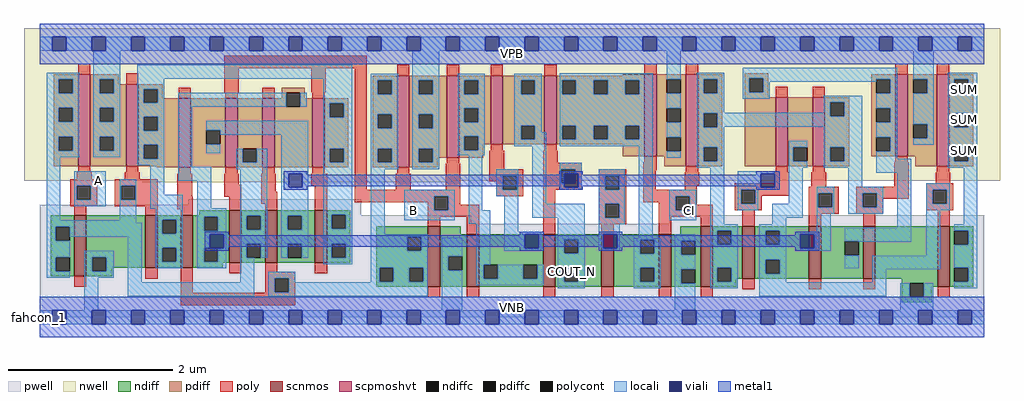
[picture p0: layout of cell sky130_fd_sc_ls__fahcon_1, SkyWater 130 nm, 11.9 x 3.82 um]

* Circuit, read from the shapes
.subckt sky130_fd_sc_ls__fahcon_1 A B CI VGND VNB VPB VPWR COUT_N SUM
XM1 VGND A n1 VNB sky130_fd_pr__nfet_01v8 w=0.74 l=0.15
XM2 n2 n1 VGND VNB sky130_fd_pr__nfet_01v8 w=0.64 l=0.15
XM3 n3 n4 n2 VNB sky130_fd_pr__nfet_01v8 w=0.64 l=0.15
XM4 n1 B n3 VNB sky130_fd_pr__nfet_01v8 w=0.64 l=0.15
XM5 n5 n4 n1 VNB sky130_fd_pr__nfet_01v8 w=0.64 l=0.15
XM6 n2 B n5 VNB sky130_fd_pr__nfet_01v8 w=0.64 l=0.15
XM7 VGND B n4 VNB sky130_fd_pr__nfet_01v8 w=0.74 l=0.15
XM8 n6 B VGND VNB sky130_fd_pr__nfet_01v8 w=0.64 l=0.15
XM9 COUT_N n5 n6 VNB sky130_fd_pr__nfet_01v8 w=0.64 l=0.15
XM10 n7 n3 COUT_N VNB sky130_fd_pr__nfet_01v8 w=0.64 l=0.15
XM11 VGND CI n7 VNB sky130_fd_pr__nfet_01v8 w=0.64 l=0.15
XM12 n8 CI VGND VNB sky130_fd_pr__nfet_01v8 w=0.74 l=0.15
XM13 n9 n5 n8 VNB sky130_fd_pr__nfet_01v8 w=0.64 l=0.15
XM14 n10 n3 n9 VNB sky130_fd_pr__nfet_01v8 w=0.64 l=0.15
XM15 VGND n8 n10 VNB sky130_fd_pr__nfet_01v8 w=0.64 l=0.15
XM16 SUM n9 VGND VNB sky130_fd_pr__nfet_01v8 w=0.74 l=0.15
XM17 VPWR A n1 VPB sky130_fd_pr__pfet_01v8_hvt w=1.12 l=0.15
XM18 n2 n1 VPWR VPB sky130_fd_pr__pfet_01v8_hvt w=1 l=0.15
XM19 n5 n4 n2 VPB sky130_fd_pr__pfet_01v8_hvt w=0.84 l=0.15
XM20 n1 B n5 VPB sky130_fd_pr__pfet_01v8_hvt w=0.84 l=0.15
XM21 n3 n4 n1 VPB sky130_fd_pr__pfet_01v8_hvt w=0.84 l=0.15
XM22 n2 B n3 VPB sky130_fd_pr__pfet_01v8_hvt w=0.84 l=0.15
XM23 VPWR B n4 VPB sky130_fd_pr__pfet_01v8_hvt w=1.12 l=0.15
XM24 n6 B VPWR VPB sky130_fd_pr__pfet_01v8_hvt w=1 l=0.15
XM25 COUT_N n3 n6 VPB sky130_fd_pr__pfet_01v8_hvt w=0.84 l=0.15
XM26 n7 n5 COUT_N VPB sky130_fd_pr__pfet_01v8_hvt w=0.84 l=0.15
XM27 VPWR CI n7 VPB sky130_fd_pr__pfet_01v8_hvt w=1 l=0.15
XM28 n8 CI VPWR VPB sky130_fd_pr__pfet_01v8_hvt w=1.12 l=0.15
XM29 n9 n5 n10 VPB sky130_fd_pr__pfet_01v8_hvt w=0.84 l=0.15
XM30 n8 n3 n9 VPB sky130_fd_pr__pfet_01v8_hvt w=0.84 l=0.15
XM31 VPWR n8 n10 VPB sky130_fd_pr__pfet_01v8_hvt w=1 l=0.15
XM32 SUM n9 VPWR VPB sky130_fd_pr__pfet_01v8_hvt w=1.12 l=0.15
.ends

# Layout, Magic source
magic
tech sky130A
magscale 1 2
<< nwell >>
rect -38 332 2342 704
rect 250 329 1007 332
<< pwell >>
rect 363 274 784 287
rect 1 248 784 274
rect 1 228 1053 248
rect 1536 228 2303 248
rect 1 49 2303 228
rect 0 0 2304 49
<< scnmos >>
rect 84 100 114 248
rect 258 120 288 248
rect 344 120 374 248
rect 462 133 492 261
rect 550 133 580 261
rect 671 133 701 261
rect 947 74 977 222
rect 1042 74 1072 202
rect 1228 74 1258 202
rect 1370 74 1400 202
rect 1510 74 1540 202
rect 1612 74 1642 222
rect 1714 94 1744 222
rect 1876 94 1906 222
rect 2008 94 2038 222
rect 2190 74 2220 222
<< scpmoshvt >>
rect 94 368 124 592
rect 211 368 241 568
rect 339 365 369 533
rect 453 365 483 533
rect 543 365 573 533
rect 665 365 695 533
rect 872 365 902 589
rect 993 389 1023 589
rect 1100 421 1130 589
rect 1231 421 1261 589
rect 1475 392 1505 592
rect 1576 368 1606 592
rect 1795 368 1825 536
rect 1885 368 1915 536
rect 2087 392 2117 592
rect 2188 368 2218 592
<< ndiff >>
rect 389 248 462 261
rect 27 220 84 248
rect 27 186 39 220
rect 73 186 84 220
rect 27 146 84 186
rect 27 112 39 146
rect 73 112 84 146
rect 27 100 84 112
rect 114 146 258 248
rect 114 112 128 146
rect 162 120 258 146
rect 288 237 344 248
rect 288 203 299 237
rect 333 203 344 237
rect 288 169 344 203
rect 288 135 299 169
rect 333 135 344 169
rect 288 120 344 135
rect 374 244 462 248
rect 374 210 401 244
rect 435 210 462 244
rect 374 169 462 210
rect 374 135 401 169
rect 435 135 462 169
rect 374 133 462 135
rect 492 247 550 261
rect 492 213 505 247
rect 539 213 550 247
rect 492 179 550 213
rect 492 145 505 179
rect 539 145 550 179
rect 492 133 550 145
rect 580 247 671 261
rect 580 213 605 247
rect 639 213 671 247
rect 580 179 671 213
rect 580 145 605 179
rect 639 145 671 179
rect 580 133 671 145
rect 701 249 758 261
rect 701 215 712 249
rect 746 215 758 249
rect 701 179 758 215
rect 701 145 712 179
rect 746 145 758 179
rect 701 133 758 145
rect 821 196 947 222
rect 821 162 897 196
rect 931 162 947 196
rect 374 120 447 133
rect 162 112 177 120
rect 114 100 177 112
rect 821 120 947 162
rect 821 86 829 120
rect 863 86 902 120
rect 936 86 947 120
rect 821 74 947 86
rect 977 202 1027 222
rect 1562 202 1612 222
rect 977 148 1042 202
rect 977 114 997 148
rect 1031 114 1042 148
rect 977 74 1042 114
rect 1072 128 1228 202
rect 1072 94 1083 128
rect 1117 94 1180 128
rect 1214 94 1228 128
rect 1072 74 1228 94
rect 1258 190 1370 202
rect 1258 156 1280 190
rect 1314 156 1370 190
rect 1258 120 1370 156
rect 1258 86 1280 120
rect 1314 86 1370 120
rect 1258 74 1370 86
rect 1400 188 1510 202
rect 1400 154 1465 188
rect 1499 154 1510 188
rect 1400 120 1510 154
rect 1400 86 1465 120
rect 1499 86 1510 120
rect 1400 74 1510 86
rect 1540 186 1612 202
rect 1540 152 1565 186
rect 1599 152 1612 186
rect 1540 116 1612 152
rect 1540 82 1565 116
rect 1599 82 1612 116
rect 1540 74 1612 82
rect 1642 210 1714 222
rect 1642 176 1653 210
rect 1687 176 1714 210
rect 1642 120 1714 176
rect 1642 86 1653 120
rect 1687 94 1714 120
rect 1744 210 1876 222
rect 1744 176 1771 210
rect 1805 176 1876 210
rect 1744 140 1876 176
rect 1744 106 1771 140
rect 1805 106 1876 140
rect 1744 94 1876 106
rect 1906 185 2008 222
rect 1906 151 1963 185
rect 1997 151 2008 185
rect 1906 94 2008 151
rect 2038 94 2190 222
rect 1687 86 1699 94
rect 1642 74 1699 86
rect 2103 82 2190 94
rect 2103 48 2122 82
rect 2156 74 2190 82
rect 2220 210 2277 222
rect 2220 176 2231 210
rect 2265 176 2277 210
rect 2220 120 2277 176
rect 2220 86 2231 120
rect 2265 86 2277 120
rect 2220 74 2277 86
rect 2156 48 2175 74
rect 2103 36 2175 48
<< pdiff >>
rect 35 580 94 592
rect 35 546 47 580
rect 81 546 94 580
rect 35 510 94 546
rect 35 476 47 510
rect 81 476 94 510
rect 35 440 94 476
rect 35 406 47 440
rect 81 406 94 440
rect 35 368 94 406
rect 124 580 193 592
rect 124 546 147 580
rect 181 568 193 580
rect 181 546 211 568
rect 124 510 211 546
rect 124 476 147 510
rect 181 476 211 510
rect 124 440 211 476
rect 124 406 147 440
rect 181 406 211 440
rect 124 368 211 406
rect 241 556 300 568
rect 241 522 254 556
rect 288 533 300 556
rect 591 547 647 559
rect 591 533 602 547
rect 288 522 339 533
rect 241 488 339 522
rect 241 454 254 488
rect 288 454 339 488
rect 241 420 339 454
rect 241 386 254 420
rect 288 386 339 420
rect 241 368 339 386
rect 286 365 339 368
rect 369 456 453 533
rect 369 422 406 456
rect 440 422 453 456
rect 369 365 453 422
rect 483 411 543 533
rect 483 377 496 411
rect 530 377 543 411
rect 483 365 543 377
rect 573 513 602 533
rect 636 533 647 547
rect 636 513 665 533
rect 573 365 665 513
rect 695 521 753 533
rect 695 487 708 521
rect 742 487 753 521
rect 695 411 753 487
rect 695 377 708 411
rect 742 377 753 411
rect 695 365 753 377
rect 1422 589 1475 592
rect 813 577 872 589
rect 813 543 825 577
rect 859 543 872 577
rect 813 494 872 543
rect 813 460 825 494
rect 859 460 872 494
rect 813 411 872 460
rect 813 377 825 411
rect 859 377 872 411
rect 813 365 872 377
rect 902 577 993 589
rect 902 543 925 577
rect 959 543 993 577
rect 902 494 993 543
rect 902 460 925 494
rect 959 460 993 494
rect 902 411 993 460
rect 902 377 925 411
rect 959 389 993 411
rect 1023 577 1100 589
rect 1023 543 1036 577
rect 1070 543 1100 577
rect 1023 509 1100 543
rect 1023 475 1036 509
rect 1070 475 1100 509
rect 1023 441 1100 475
rect 1023 407 1036 441
rect 1070 421 1100 441
rect 1130 577 1231 589
rect 1130 543 1174 577
rect 1208 543 1231 577
rect 1130 467 1231 543
rect 1130 433 1174 467
rect 1208 433 1231 467
rect 1130 421 1231 433
rect 1261 577 1475 589
rect 1261 543 1274 577
rect 1308 543 1351 577
rect 1385 543 1428 577
rect 1462 543 1475 577
rect 1261 467 1475 543
rect 1261 433 1274 467
rect 1308 433 1351 467
rect 1385 433 1428 467
rect 1462 433 1475 467
rect 1261 421 1475 433
rect 1070 407 1082 421
rect 1023 389 1082 407
rect 959 377 971 389
rect 902 365 971 377
rect 1422 392 1475 421
rect 1505 580 1576 592
rect 1505 546 1529 580
rect 1563 546 1576 580
rect 1505 509 1576 546
rect 1505 475 1529 509
rect 1563 475 1576 509
rect 1505 438 1576 475
rect 1505 404 1529 438
rect 1563 404 1576 438
rect 1505 392 1576 404
rect 1523 368 1576 392
rect 1606 580 1665 592
rect 1606 546 1619 580
rect 1653 546 1665 580
rect 1606 497 1665 546
rect 1606 463 1619 497
rect 1653 463 1665 497
rect 1606 414 1665 463
rect 1606 380 1619 414
rect 1653 380 1665 414
rect 1606 368 1665 380
rect 1719 582 1777 594
rect 1719 548 1731 582
rect 1765 548 1777 582
rect 2028 580 2087 592
rect 1719 536 1777 548
rect 2028 546 2040 580
rect 2074 546 2087 580
rect 1719 368 1795 536
rect 1825 414 1885 536
rect 1825 380 1838 414
rect 1872 380 1885 414
rect 1825 368 1885 380
rect 1915 524 1974 536
rect 1915 490 1928 524
rect 1962 490 1974 524
rect 1915 414 1974 490
rect 1915 380 1928 414
rect 1962 380 1974 414
rect 2028 509 2087 546
rect 2028 475 2040 509
rect 2074 475 2087 509
rect 2028 438 2087 475
rect 2028 404 2040 438
rect 2074 404 2087 438
rect 2028 392 2087 404
rect 2117 580 2188 592
rect 2117 546 2130 580
rect 2164 546 2188 580
rect 2117 470 2188 546
rect 2117 436 2130 470
rect 2164 436 2188 470
rect 2117 392 2188 436
rect 1915 368 1974 380
rect 2135 368 2188 392
rect 2218 580 2277 592
rect 2218 546 2231 580
rect 2265 546 2277 580
rect 2218 497 2277 546
rect 2218 463 2231 497
rect 2265 463 2277 497
rect 2218 414 2277 463
rect 2218 380 2231 414
rect 2265 380 2277 414
rect 2218 368 2277 380
<< ndiffc >>
rect 39 186 73 220
rect 39 112 73 146
rect 128 112 162 146
rect 299 203 333 237
rect 299 135 333 169
rect 401 210 435 244
rect 401 135 435 169
rect 505 213 539 247
rect 505 145 539 179
rect 605 213 639 247
rect 605 145 639 179
rect 712 215 746 249
rect 712 145 746 179
rect 897 162 931 196
rect 829 86 863 120
rect 902 86 936 120
rect 997 114 1031 148
rect 1083 94 1117 128
rect 1180 94 1214 128
rect 1280 156 1314 190
rect 1280 86 1314 120
rect 1465 154 1499 188
rect 1465 86 1499 120
rect 1565 152 1599 186
rect 1565 82 1599 116
rect 1653 176 1687 210
rect 1653 86 1687 120
rect 1771 176 1805 210
rect 1771 106 1805 140
rect 1963 151 1997 185
rect 2122 48 2156 82
rect 2231 176 2265 210
rect 2231 86 2265 120
<< pdiffc >>
rect 47 546 81 580
rect 47 476 81 510
rect 47 406 81 440
rect 147 546 181 580
rect 147 476 181 510
rect 147 406 181 440
rect 254 522 288 556
rect 254 454 288 488
rect 254 386 288 420
rect 406 422 440 456
rect 496 377 530 411
rect 602 513 636 547
rect 708 487 742 521
rect 708 377 742 411
rect 825 543 859 577
rect 825 460 859 494
rect 825 377 859 411
rect 925 543 959 577
rect 925 460 959 494
rect 925 377 959 411
rect 1036 543 1070 577
rect 1036 475 1070 509
rect 1036 407 1070 441
rect 1174 543 1208 577
rect 1174 433 1208 467
rect 1274 543 1308 577
rect 1351 543 1385 577
rect 1428 543 1462 577
rect 1274 433 1308 467
rect 1351 433 1385 467
rect 1428 433 1462 467
rect 1529 546 1563 580
rect 1529 475 1563 509
rect 1529 404 1563 438
rect 1619 546 1653 580
rect 1619 463 1653 497
rect 1619 380 1653 414
rect 1731 548 1765 582
rect 2040 546 2074 580
rect 1838 380 1872 414
rect 1928 490 1962 524
rect 1928 380 1962 414
rect 2040 475 2074 509
rect 2040 404 2074 438
rect 2130 546 2164 580
rect 2130 436 2164 470
rect 2231 546 2265 580
rect 2231 463 2265 497
rect 2231 380 2265 414
<< poly >>
rect 94 592 124 618
rect 450 607 798 637
rect 211 568 241 594
rect 339 533 369 559
rect 450 548 486 607
rect 453 533 483 548
rect 543 533 573 559
rect 662 548 698 607
rect 94 353 124 368
rect 211 353 241 368
rect 665 533 695 548
rect 91 336 127 353
rect 208 336 244 353
rect 339 350 369 365
rect 453 350 483 365
rect 543 350 573 365
rect 665 350 695 365
rect 75 320 141 336
rect 75 286 91 320
rect 125 286 141 320
rect 75 270 141 286
rect 183 320 288 336
rect 183 286 199 320
rect 233 286 288 320
rect 183 270 288 286
rect 84 248 114 270
rect 258 248 288 270
rect 336 293 372 350
rect 450 323 486 350
rect 450 293 492 323
rect 336 263 374 293
rect 344 248 374 263
rect 462 261 492 293
rect 540 306 576 350
rect 662 320 701 350
rect 540 276 580 306
rect 550 261 580 276
rect 671 261 701 320
rect 768 310 798 607
rect 872 589 902 615
rect 993 589 1023 615
rect 1100 589 1130 615
rect 1231 589 1261 615
rect 1475 592 1505 618
rect 1576 592 1606 618
rect 1100 406 1130 421
rect 1231 406 1261 421
rect 993 374 1023 389
rect 872 350 902 365
rect 869 310 905 350
rect 990 310 1026 374
rect 1097 361 1133 406
rect 1228 376 1264 406
rect 1475 377 1505 392
rect 1097 345 1180 361
rect 1097 331 1130 345
rect 768 294 1026 310
rect 1114 311 1130 331
rect 1164 311 1180 345
rect 1114 295 1180 311
rect 1228 360 1322 376
rect 1228 326 1272 360
rect 1306 326 1322 360
rect 1228 310 1322 326
rect 1364 344 1430 360
rect 1364 310 1380 344
rect 1414 310 1430 344
rect 768 280 963 294
rect 947 260 963 280
rect 997 274 1026 294
rect 997 260 1072 274
rect 947 244 1072 260
rect 947 222 977 244
rect 84 74 114 100
rect 258 94 288 120
rect 344 59 374 120
rect 462 107 492 133
rect 550 111 580 133
rect 550 95 623 111
rect 671 107 701 133
rect 550 61 573 95
rect 607 61 623 95
rect 1042 202 1072 244
rect 1228 202 1258 310
rect 1364 276 1430 310
rect 1472 358 1505 377
rect 2087 592 2117 618
rect 2188 592 2218 618
rect 1795 536 1825 562
rect 1885 536 1915 562
rect 2087 377 2117 392
rect 1472 310 1502 358
rect 1576 353 1606 368
rect 1795 353 1825 368
rect 1885 353 1915 368
rect 1573 322 1609 353
rect 1792 326 1828 353
rect 1573 310 1603 322
rect 1472 294 1603 310
rect 1472 280 1551 294
rect 1364 242 1380 276
rect 1414 242 1430 276
rect 1364 226 1430 242
rect 1510 260 1551 280
rect 1585 274 1603 294
rect 1695 310 1828 326
rect 1882 318 1918 353
rect 2084 318 2120 377
rect 2188 353 2218 368
rect 2185 326 2221 353
rect 1695 276 1711 310
rect 1745 296 1828 310
rect 1876 302 1949 318
rect 1745 276 1761 296
rect 1585 260 1642 274
rect 1695 260 1761 276
rect 1876 268 1899 302
rect 1933 268 1949 302
rect 1510 244 1642 260
rect 1370 202 1400 226
rect 1510 202 1540 244
rect 1612 222 1642 244
rect 1714 222 1744 260
rect 1876 252 1949 268
rect 1991 302 2120 318
rect 1991 268 2007 302
rect 2041 288 2120 302
rect 2162 310 2228 326
rect 2041 268 2057 288
rect 1991 252 2057 268
rect 2162 276 2178 310
rect 2212 276 2228 310
rect 2162 260 2228 276
rect 1876 222 1906 252
rect 2008 222 2038 252
rect 2190 222 2220 260
rect 550 59 623 61
rect 344 29 623 59
rect 947 48 977 74
rect 1042 48 1072 74
rect 1228 48 1258 74
rect 1370 48 1400 74
rect 1510 48 1540 74
rect 1612 48 1642 74
rect 1714 68 1744 94
rect 1876 68 1906 94
rect 2008 68 2038 94
rect 2190 48 2220 74
<< polycont >>
rect 91 286 125 320
rect 199 286 233 320
rect 1130 311 1164 345
rect 1272 326 1306 360
rect 1380 310 1414 344
rect 963 260 997 294
rect 573 61 607 95
rect 1380 242 1414 276
rect 1551 260 1585 294
rect 1711 276 1745 310
rect 1899 268 1933 302
rect 2007 268 2041 302
rect 2178 276 2212 310
<< locali >>
rect 0 649 31 683
rect 65 649 127 683
rect 161 649 223 683
rect 257 649 319 683
rect 353 649 415 683
rect 449 649 511 683
rect 545 649 607 683
rect 641 649 703 683
rect 737 649 799 683
rect 833 649 895 683
rect 929 649 991 683
rect 1025 649 1087 683
rect 1121 649 1183 683
rect 1217 649 1279 683
rect 1313 649 1375 683
rect 1409 649 1471 683
rect 1505 649 1567 683
rect 1601 649 1663 683
rect 1697 649 1759 683
rect 1793 649 1855 683
rect 1889 649 1951 683
rect 1985 649 2047 683
rect 2081 649 2143 683
rect 2177 649 2239 683
rect 2273 649 2304 683
rect 17 580 97 596
rect 17 546 47 580
rect 81 546 97 580
rect 17 510 97 546
rect 17 476 47 510
rect 81 476 97 510
rect 17 440 97 476
rect 17 406 47 440
rect 81 406 97 440
rect 17 390 97 406
rect 131 580 197 649
rect 131 546 147 580
rect 181 546 197 580
rect 131 510 197 546
rect 131 476 147 510
rect 181 476 197 510
rect 131 440 197 476
rect 131 406 147 440
rect 181 406 197 440
rect 131 390 197 406
rect 238 581 762 615
rect 238 556 304 581
rect 238 522 254 556
rect 288 522 304 556
rect 238 488 304 522
rect 238 454 254 488
rect 288 454 304 488
rect 238 420 304 454
rect 17 236 51 390
rect 238 386 254 420
rect 288 386 304 420
rect 238 370 304 386
rect 85 320 161 356
rect 85 286 91 320
rect 125 286 161 320
rect 85 270 161 286
rect 195 320 236 336
rect 195 286 199 320
rect 233 286 236 320
rect 195 236 236 286
rect 270 298 304 370
rect 338 513 602 547
rect 636 513 652 547
rect 692 521 762 581
rect 338 366 372 513
rect 692 487 708 521
rect 742 487 762 521
rect 406 456 655 479
rect 440 445 655 456
rect 406 400 440 422
rect 480 377 496 411
rect 530 377 555 411
rect 338 332 419 366
rect 480 361 555 377
rect 270 264 349 298
rect 17 230 236 236
rect 283 237 349 264
rect 17 220 249 230
rect 17 186 39 220
rect 73 196 249 220
rect 17 146 73 186
rect 17 112 39 146
rect 17 96 73 112
rect 109 146 181 162
rect 109 112 128 146
rect 162 112 181 146
rect 109 96 181 112
rect 109 17 143 96
rect 215 85 249 196
rect 283 203 299 237
rect 333 203 349 237
rect 283 169 349 203
rect 283 135 299 169
rect 333 135 349 169
rect 283 119 349 135
rect 385 265 419 332
rect 385 244 455 265
rect 385 210 401 244
rect 435 210 455 244
rect 385 202 455 210
rect 385 169 415 202
rect 385 135 401 169
rect 449 168 455 202
rect 435 135 455 168
rect 385 119 455 135
rect 489 247 555 361
rect 489 213 505 247
rect 539 213 555 247
rect 489 179 555 213
rect 489 145 505 179
rect 539 145 555 179
rect 589 350 655 445
rect 589 316 607 350
rect 641 316 655 350
rect 589 247 655 316
rect 589 213 605 247
rect 639 213 655 247
rect 589 179 655 213
rect 589 145 605 179
rect 639 145 655 179
rect 692 411 762 487
rect 692 377 708 411
rect 742 377 762 411
rect 692 249 762 377
rect 692 215 712 249
rect 746 215 762 249
rect 692 179 762 215
rect 692 145 712 179
rect 746 145 762 179
rect 489 85 523 145
rect 692 129 762 145
rect 808 577 875 593
rect 808 543 825 577
rect 859 543 875 577
rect 808 494 875 543
rect 808 460 825 494
rect 859 460 875 494
rect 808 411 875 460
rect 808 377 825 411
rect 859 377 875 411
rect 808 361 875 377
rect 909 577 975 649
rect 909 543 925 577
rect 959 543 975 577
rect 909 494 975 543
rect 909 460 925 494
rect 959 460 975 494
rect 909 411 975 460
rect 909 377 925 411
rect 959 377 975 411
rect 1020 577 1086 593
rect 1020 543 1036 577
rect 1070 543 1086 577
rect 1020 509 1086 543
rect 1020 475 1036 509
rect 1070 475 1086 509
rect 1020 441 1086 475
rect 1020 407 1036 441
rect 1070 407 1086 441
rect 1158 577 1224 593
rect 1158 543 1174 577
rect 1208 543 1224 577
rect 1158 467 1224 543
rect 1158 433 1174 467
rect 1208 451 1224 467
rect 1269 577 1495 594
rect 1269 543 1274 577
rect 1308 543 1351 577
rect 1385 543 1428 577
rect 1462 543 1495 577
rect 1269 467 1495 543
rect 1208 433 1235 451
rect 1158 417 1235 433
rect 1269 433 1274 467
rect 1308 433 1351 467
rect 1385 433 1428 467
rect 1462 433 1495 467
rect 1269 417 1495 433
rect 1020 395 1086 407
rect 909 361 975 377
rect 808 202 842 361
rect 889 294 1012 310
rect 889 260 963 294
rect 997 260 1012 294
rect 889 236 1012 260
rect 1046 261 1080 395
rect 1114 345 1167 361
rect 1114 311 1130 345
rect 1164 311 1167 345
rect 1114 295 1167 311
rect 1046 227 1099 261
rect 808 196 947 202
rect 808 162 897 196
rect 931 162 947 196
rect 808 120 947 162
rect 215 51 523 85
rect 557 95 623 111
rect 557 61 573 95
rect 607 85 623 95
rect 808 86 829 120
rect 863 86 902 120
rect 936 86 947 120
rect 808 85 947 86
rect 607 61 947 85
rect 557 51 947 61
rect 981 148 1031 193
rect 981 114 997 148
rect 981 17 1031 114
rect 1065 128 1099 227
rect 1133 208 1167 295
rect 1201 276 1235 417
rect 1269 360 1322 376
rect 1269 326 1272 360
rect 1306 350 1322 360
rect 1269 316 1279 326
rect 1313 316 1322 350
rect 1269 310 1322 316
rect 1364 344 1427 360
rect 1364 310 1380 344
rect 1414 310 1427 344
rect 1364 276 1427 310
rect 1201 242 1330 276
rect 1133 202 1223 208
rect 1133 168 1183 202
rect 1217 168 1223 202
rect 1133 162 1223 168
rect 1264 190 1330 242
rect 1264 156 1280 190
rect 1314 156 1330 190
rect 1364 242 1380 276
rect 1414 242 1427 276
rect 1364 226 1427 242
rect 1364 202 1415 226
rect 1364 168 1375 202
rect 1409 168 1415 202
rect 1461 192 1495 417
rect 1529 580 1563 649
rect 1529 509 1563 546
rect 1529 438 1563 475
rect 1529 388 1563 404
rect 1603 580 1669 596
rect 1603 546 1619 580
rect 1653 546 1669 580
rect 1603 498 1669 546
rect 1715 582 2091 608
rect 1715 548 1731 582
rect 1765 580 2091 582
rect 1765 574 2040 580
rect 1765 548 1781 574
rect 1715 532 1781 548
rect 2074 546 2091 580
rect 1912 524 2006 540
rect 1912 498 1928 524
rect 1603 497 1928 498
rect 1603 463 1619 497
rect 1653 490 1928 497
rect 1962 490 2006 524
rect 1653 464 2006 490
rect 1653 463 1669 464
rect 1603 414 1669 463
rect 1603 380 1619 414
rect 1653 380 1669 414
rect 1603 364 1669 380
rect 1535 294 1601 310
rect 1535 260 1551 294
rect 1585 260 1601 294
rect 1535 236 1601 260
rect 1635 226 1669 364
rect 1827 414 1872 430
rect 1827 380 1838 414
rect 1827 364 1872 380
rect 1912 414 2006 464
rect 1912 380 1928 414
rect 1962 380 2006 414
rect 1912 364 2006 380
rect 1703 350 1793 356
rect 1703 316 1759 350
rect 1703 310 1793 316
rect 1703 276 1711 310
rect 1745 276 1753 310
rect 1827 276 1861 364
rect 1972 318 2006 364
rect 2040 509 2091 546
rect 2074 475 2091 509
rect 2040 438 2091 475
rect 2074 404 2091 438
rect 2130 580 2180 649
rect 2164 546 2180 580
rect 2130 470 2180 546
rect 2164 436 2180 470
rect 2130 420 2180 436
rect 2215 580 2287 596
rect 2215 546 2231 580
rect 2265 546 2287 580
rect 2215 497 2287 546
rect 2215 463 2231 497
rect 2265 463 2287 497
rect 2040 386 2091 404
rect 2215 414 2287 463
rect 2040 352 2125 386
rect 2215 380 2231 414
rect 2265 380 2287 414
rect 2215 364 2287 380
rect 1703 260 1753 276
rect 1787 242 1861 276
rect 1895 302 1938 318
rect 1895 268 1899 302
rect 1933 268 1938 302
rect 1895 252 1938 268
rect 1972 302 2057 318
rect 1972 268 2007 302
rect 2041 268 2057 302
rect 1972 252 2057 268
rect 1787 226 1821 242
rect 1635 210 1703 226
rect 1364 162 1415 168
rect 1449 188 1515 192
rect 1065 94 1083 128
rect 1117 94 1180 128
rect 1214 94 1230 128
rect 1065 78 1230 94
rect 1264 120 1330 156
rect 1264 86 1280 120
rect 1314 86 1330 120
rect 1264 70 1330 86
rect 1449 154 1465 188
rect 1499 154 1515 188
rect 1449 120 1515 154
rect 1449 86 1465 120
rect 1499 86 1515 120
rect 1449 70 1515 86
rect 1549 186 1599 202
rect 1549 152 1565 186
rect 1549 116 1599 152
rect 1549 82 1565 116
rect 1549 17 1599 82
rect 1635 176 1653 210
rect 1687 176 1703 210
rect 1635 120 1703 176
rect 1635 86 1653 120
rect 1687 86 1703 120
rect 1635 70 1703 86
rect 1755 210 1821 226
rect 1755 176 1771 210
rect 1805 176 1821 210
rect 1895 208 1929 252
rect 2091 218 2125 352
rect 1755 140 1821 176
rect 1855 202 1929 208
rect 1889 168 1929 202
rect 1855 162 1929 168
rect 1963 185 2125 218
rect 1755 106 1771 140
rect 1805 106 1821 140
rect 1997 184 2125 185
rect 2162 310 2219 326
rect 2162 276 2178 310
rect 2212 276 2219 310
rect 2162 260 2219 276
rect 1963 119 1997 151
rect 2162 150 2196 260
rect 2253 226 2287 364
rect 1755 85 1821 106
rect 2031 116 2196 150
rect 2231 210 2287 226
rect 2265 176 2287 210
rect 2231 120 2287 176
rect 2031 85 2065 116
rect 1755 51 2065 85
rect 2265 86 2287 120
rect 2099 48 2122 82
rect 2156 48 2179 82
rect 2231 70 2287 86
rect 2099 17 2179 48
rect 0 -17 31 17
rect 65 -17 127 17
rect 161 -17 223 17
rect 257 -17 319 17
rect 353 -17 415 17
rect 449 -17 511 17
rect 545 -17 607 17
rect 641 -17 703 17
rect 737 -17 799 17
rect 833 -17 895 17
rect 929 -17 991 17
rect 1025 -17 1087 17
rect 1121 -17 1183 17
rect 1217 -17 1279 17
rect 1313 -17 1375 17
rect 1409 -17 1471 17
rect 1505 -17 1567 17
rect 1601 -17 1663 17
rect 1697 -17 1759 17
rect 1793 -17 1855 17
rect 1889 -17 1951 17
rect 1985 -17 2047 17
rect 2081 -17 2143 17
rect 2177 -17 2239 17
rect 2273 -17 2304 17
<< viali >>
rect 31 649 65 683
rect 127 649 161 683
rect 223 649 257 683
rect 319 649 353 683
rect 415 649 449 683
rect 511 649 545 683
rect 607 649 641 683
rect 703 649 737 683
rect 799 649 833 683
rect 895 649 929 683
rect 991 649 1025 683
rect 1087 649 1121 683
rect 1183 649 1217 683
rect 1279 649 1313 683
rect 1375 649 1409 683
rect 1471 649 1505 683
rect 1567 649 1601 683
rect 1663 649 1697 683
rect 1759 649 1793 683
rect 1855 649 1889 683
rect 1951 649 1985 683
rect 2047 649 2081 683
rect 2143 649 2177 683
rect 2239 649 2273 683
rect 415 169 449 202
rect 415 168 435 169
rect 435 168 449 169
rect 607 316 641 350
rect 1279 326 1306 350
rect 1306 326 1313 350
rect 1279 316 1313 326
rect 1183 168 1217 202
rect 1375 168 1409 202
rect 1759 316 1793 350
rect 1855 168 1889 202
rect 31 -17 65 17
rect 127 -17 161 17
rect 223 -17 257 17
rect 319 -17 353 17
rect 415 -17 449 17
rect 511 -17 545 17
rect 607 -17 641 17
rect 703 -17 737 17
rect 799 -17 833 17
rect 895 -17 929 17
rect 991 -17 1025 17
rect 1087 -17 1121 17
rect 1183 -17 1217 17
rect 1279 -17 1313 17
rect 1375 -17 1409 17
rect 1471 -17 1505 17
rect 1567 -17 1601 17
rect 1663 -17 1697 17
rect 1759 -17 1793 17
rect 1855 -17 1889 17
rect 1951 -17 1985 17
rect 2047 -17 2081 17
rect 2143 -17 2177 17
rect 2239 -17 2273 17
<< metal1 >>
rect 0 683 2304 715
rect 0 649 31 683
rect 65 649 127 683
rect 161 649 223 683
rect 257 649 319 683
rect 353 649 415 683
rect 449 649 511 683
rect 545 649 607 683
rect 641 649 703 683
rect 737 649 799 683
rect 833 649 895 683
rect 929 649 991 683
rect 1025 649 1087 683
rect 1121 649 1183 683
rect 1217 649 1279 683
rect 1313 649 1375 683
rect 1409 649 1471 683
rect 1505 649 1567 683
rect 1601 649 1663 683
rect 1697 649 1759 683
rect 1793 649 1855 683
rect 1889 649 1951 683
rect 1985 649 2047 683
rect 2081 649 2143 683
rect 2177 649 2239 683
rect 2273 649 2304 683
rect 0 617 2304 649
rect 595 350 653 356
rect 595 316 607 350
rect 641 347 653 350
rect 1267 350 1325 356
rect 1267 347 1279 350
rect 641 319 1279 347
rect 641 316 653 319
rect 595 310 653 316
rect 1267 316 1279 319
rect 1313 347 1325 350
rect 1747 350 1805 356
rect 1747 347 1759 350
rect 1313 319 1759 347
rect 1313 316 1325 319
rect 1267 310 1325 316
rect 1747 316 1759 319
rect 1793 316 1805 350
rect 1747 310 1805 316
rect 403 202 461 208
rect 403 168 415 202
rect 449 199 461 202
rect 1171 202 1229 208
rect 1171 199 1183 202
rect 449 171 1183 199
rect 449 168 461 171
rect 403 162 461 168
rect 1171 168 1183 171
rect 1217 199 1229 202
rect 1363 202 1421 208
rect 1363 199 1375 202
rect 1217 171 1375 199
rect 1217 168 1229 171
rect 1171 162 1229 168
rect 1363 168 1375 171
rect 1409 199 1421 202
rect 1843 202 1901 208
rect 1843 199 1855 202
rect 1409 171 1855 199
rect 1409 168 1421 171
rect 1363 162 1421 168
rect 1843 168 1855 171
rect 1889 168 1901 202
rect 1843 162 1901 168
rect 0 17 2304 49
rect 0 -17 31 17
rect 65 -17 127 17
rect 161 -17 223 17
rect 257 -17 319 17
rect 353 -17 415 17
rect 449 -17 511 17
rect 545 -17 607 17
rect 641 -17 703 17
rect 737 -17 799 17
rect 833 -17 895 17
rect 929 -17 991 17
rect 1025 -17 1087 17
rect 1121 -17 1183 17
rect 1217 -17 1279 17
rect 1313 -17 1375 17
rect 1409 -17 1471 17
rect 1505 -17 1567 17
rect 1601 -17 1663 17
rect 1697 -17 1759 17
rect 1793 -17 1855 17
rect 1889 -17 1951 17
rect 1985 -17 2047 17
rect 2081 -17 2143 17
rect 2177 -17 2239 17
rect 2273 -17 2304 17
rect 0 -49 2304 -17
<< labels >>
rlabel comment s 0 0 0 0 4 fahcon_1
flabel pwell s 0 0 2304 49 0 FreeSans 200 0 0 0 VNB
port 5 nsew ground bidirectional
flabel nwell s 0 617 2304 666 0 FreeSans 200 0 0 0 VPB
port 6 nsew power bidirectional
flabel metal1 s 0 617 2304 666 0 FreeSans 340 0 0 0 VPWR
port 7 nsew power bidirectional abutment
flabel metal1 s 0 0 2304 49 0 FreeSans 340 0 0 0 VGND
port 4 nsew ground bidirectional abutment
flabel locali s 1567 242 1601 276 0 FreeSans 340 0 0 0 CI
port 3 nsew signal input
flabel locali s 895 242 929 276 0 FreeSans 340 0 0 0 B
port 2 nsew signal input
flabel locali s 127 316 161 350 0 FreeSans 340 0 0 0 A
port 1 nsew signal input
flabel locali s 2239 390 2273 424 0 FreeSans 340 0 0 0 SUM
port 9 nsew signal output
flabel locali s 2239 464 2273 498 0 FreeSans 340 0 0 0 SUM
port 9 nsew signal output
flabel locali s 2239 538 2273 572 0 FreeSans 340 0 0 0 SUM
port 9 nsew signal output
flabel locali s 1279 94 1313 128 0 FreeSans 340 0 0 0 COUT_N
port 8 nsew signal output
<< properties >>
string LEFsite unit
string LEFclass CORE
string FIXED_BBOX 0 0 2304 666
string GDS_FILE $PDKPATH/libs.ref/sky130_fd_sc_ls/gds/sky130_fd_sc_ls.gds
string LEFsymmetry X Y
string GDS_END 4022366
string GDS_START 4004052
<< end >>
